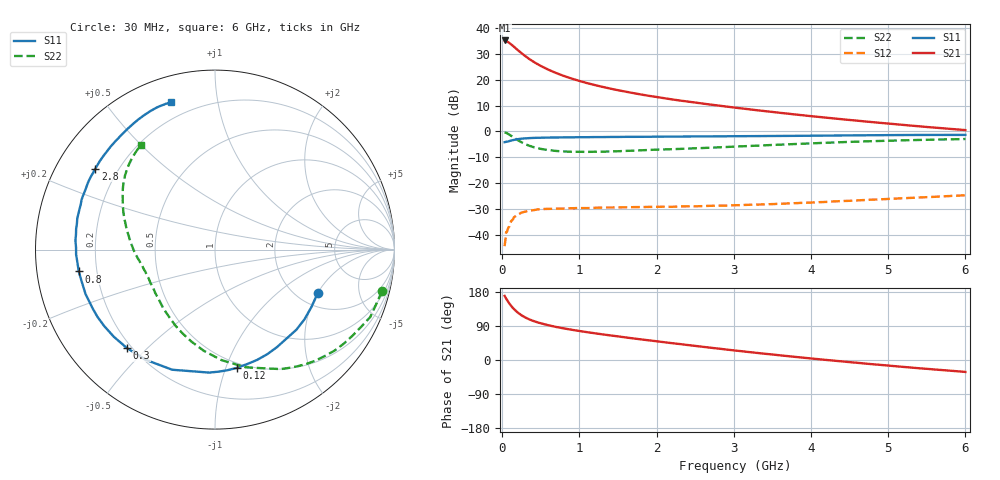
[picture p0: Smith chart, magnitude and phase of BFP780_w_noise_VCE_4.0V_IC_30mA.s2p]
! Infineon Technologies  Discrete & RF Semiconductors
! BFP780
! VCE =  4.0 V,  IC =  30 mA
! Common Emitter S-Parameters:  Jul 2015
# GHz  S  MA  R  50
!  f  S11  S21  S12  S22
! GHz  MAG  ANG  MAG  ANG  MAG  ANG  MAG  ANG
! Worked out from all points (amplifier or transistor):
!   75 points, 30 MHz to 6 GHz, reference 50 ohm
!   highest |S21| = 35.1 dB at 30 MHz (marker M1)
!   |S21| within 3 dB of that: start of sweep to 173.2 MHz
!   unconditionally stable (mu >= 1): 2.158 GHz to end of sweep
!   at 150 MHz: K = 0.12, MSG = 32.9 dB, |S12| = -33.2 dB
!   at 2.3 GHz: K = 1.05, MAG = 19.1 dB, |S12| = -29.0 dB
!   at 6 GHz: K = 1.28, MAG = 9.4 dB, |S12| = -24.6 dB
!   lowest NFmin = 1.09 dB at 450 MHz
!   S11 on the Smith chart (normalised r, x): 30 MHz: 2.53, -2.01; 120 MHz: 0.46, -1.10; 300 MHz: 0.18, -0.43; 800 MHz: 0.13, -0.08; 2.8 GHz: 0.12, +0.30; 6 GHz: 0.12, +0.74
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0.03  0.6216 -23.1  57.09 169.2  0.0061 72.9  0.959 -14.0
0.05  0.632 -38.0  55.69 162.0  0.0114 69.1  0.943 -23.5
0.08  0.6438 -57.6  52.47 152.5  0.0141 60.1  0.8883 -36.2
0.1  0.6579 -69.1  49.84 146.8  0.0168 59.7  0.8525 -44.0
0.12  0.6698 -79.4  47.22 141.4  0.0189 52.3  0.8154 -51.4
0.15  0.686 -92.7  43.31 134.6  0.022 46.7  0.7597 -61.2
0.2  0.7105 -109.6  37.32 125.2  0.0246 41.1  0.6788 -75.2
0.25  0.725 -122.1  32.38 117.8  0.0272 34.0  0.6174 -86.5
0.3  0.736 -131.8  28.32 112.0  0.0284 30.8  0.5674 -96.3
0.35  0.7441 -139.3  25.03 107.2  0.0297 26.9  0.5289 -104.4
0.4  0.7499 -145.3  22.37 103.2  0.0301 24.6  0.5005 -111.2
0.5  0.7564 -154.4  18.36 96.8  0.0317 21.3  0.4602 -122.3
0.6  0.7626 -161.1  15.5 91.6  0.032 18.6  0.4367 -131.1
0.8  0.7689 -170.9  11.76 83.3  0.0326 15.6  0.4115 -143.8
1.1  0.7744 179.0  8.566 73.4  0.0331 13.6  0.4028 -156.5
1.5  0.7827 169.4  6.252 62.3  0.0342 12.9  0.4149 -167.3
2.1  0.7944 157.8  4.378 46.9  0.0352 12.7  0.4491 -178.3
2.8  0.8053 145.9  3.158 30.1  0.0369 14.8  0.4929 169.6
3.1  0.8106 141.1  2.786 23.2  0.0379 15.7  0.5162 164.5
4.1  0.8291 126.7  1.909 2.1  0.0431 17.7  0.5967 149.6
5.1  0.8517 115.1  1.378 -16.5  0.0506 17.0  0.668 136.6
6  0.8577 106.8  1.062 -31.5  0.0586 13.5  0.7143 125.3
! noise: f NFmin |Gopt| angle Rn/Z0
0.45  1.09  0.15  163  0.07
0.9  1.14  0.23  176  0.07
1.5  1.22  0.31  -170  0.07
1.8  1.4  0.36  -164  0.07
2.4  1.56  0.42  -151  0.09
3  1.83  0.47  -139  0.13
3.5  2.38  0.51  -127  0.21
